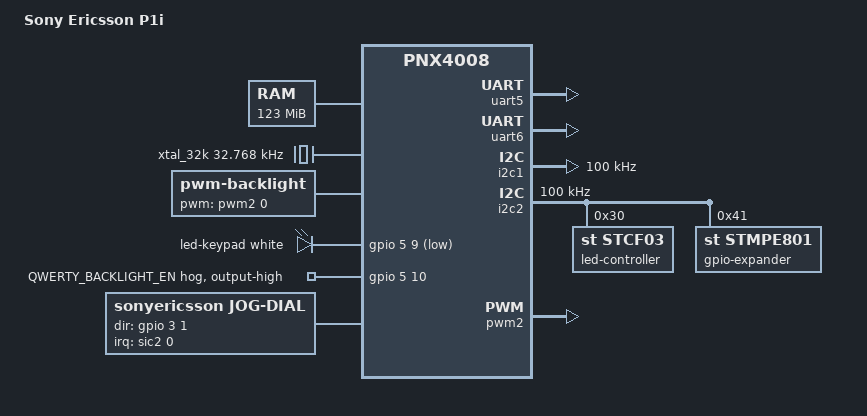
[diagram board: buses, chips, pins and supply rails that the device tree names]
// SPDX-License-Identifier: GPL-2.0
/*
 * Sony Ericsson P1i -- NXP (Philips) Nexperia PNX4008, ARM926EJ-S r0p4 @ 208 MHz,
 * 32 KB I + 32 KB D cache, 128 MB SDRAM at 0x80000000.
 *
 * Bring-up DTS: just enough for the decompressor and early boot to talk on UART5
 * (SP2663, 115200 8N1). The handover payload has already set UART5's clock and
 * divisor, so the console works without any clock driver.
 *
 * Built on the LPC32xx layout (the PNX4008's successor, same peripheral map) but NOT on
 * lpc32xx.dtsi: the root compatible deliberately avoids "nxp,lpc32x0", so the generic
 * DT machine is used instead of mach-lpc32xx, whose init code reprograms UART clocks.
 *
 * Verified on the device (regprobe, then uart5probe): UART3-6 bases, MIC/SIC1/SIC2 bases and register
 * layout, clock block at 0x40004000, watchdog at 0x4003c000, UART5 @ 13 MHz / 16 / 7.
 * Verified by the payload stub's register dump: MSTIM on MIC line 27, level high; MIC
 * polarity/type Symbian left (POL 3b3b0ce0, TYPE 0) agrees with every trigger below.
 * NOT yet verified: the other interrupt numbers (taken from LPC32xx), RAM hole position.
 *
 * Build inside a kernel tree: copy to arch/arm/boot/dts/ (arch/arm/boot/dts/nxp/lpc/ on
 * >= 6.5) and run  make ARCH=arm CROSS_COMPILE=arm-none-eabi- pnx4008-p1i.dtb
 */

/dts-v1/;

#include <dt-bindings/gpio/gpio.h>
#include <dt-bindings/input/input.h>
#include <dt-bindings/interrupt-controller/irq.h>
#include <dt-bindings/leds/common.h>

/ {
	model = "Sony Ericsson P1i";
	compatible = "sonyericsson,p1i", "nxp,pnx4008";
	interrupt-parent = <&mic>;
	#address-cells = <1>;
	#size-cells = <1>;

	aliases {
		serial0 = &uart6;	/* -> ttyS0: console + shell (IrDA module pads, TX and RX) */
		serial1 = &uart5;	/* -> ttyS1: no longer wired (kept for a future modem) */
	};

	chosen {
		/*
		 * No baud on earlycon: with one it reprograms the divisor assuming a 1.8432 MHz
		 * clock (divisor 1 here, ~812 kbaud). Without one it keeps the payload's setting.
		 */
		/*
		 * Console on UART6 only: the 8250 driver has a single console, and with two
		 * console= ttyS entries the first port to probe (UART5) takes it.
		 */
		bootargs = "earlycon=uart8250,mmio32,0x40098000 console=tty0 console=ttyS0,115200n8 ignore_loglevel";
		stdout-path = "serial0:115200n8";
	};

	/*
	 * HAL reports 0x7b00000 (123 MB) of 128 MB usable; the missing 5 MB is presumably
	 * framebuffer / modem memory. Assumed at the top (0x87b00000-0x87ffffff) because
	 * Symbian's own page tables live low (TTBR 0x80504000). Confirm against the probe's
	 * RamBootData dump before trusting it; a wrong guess here corrupts memory silently.
	 */
	memory@80000000 {
		device_type = "memory";
		reg = <0x80000000 0x07b00000>;
	};

	reserved-memory {
		#address-cells = <1>;
		#size-cells = <1>;
		ranges;

		/* Symbian's framebuffer, still scanned out by the DUM after handover. */
		framebuffer_mem: framebuffer@81000000 {
			reg = <0x81000000 0x50000>;
			no-map;
		};

		/* Audio DSP shared buffer (dsptool experiments; the DSP reads it by physical address). */
		dsp_shared: dsp-shared@81100000 {
			reg = <0x81100000 0x10000>;
			no-map;
		};
	};

	/*
	 * Display: Symbian leaves the DUM (Display Update Module, 0x400B8000 channels,
	 * 0x400BC000 main) and the Sony panel configured. DUM_DECODE = 0x01000000, i.e.
	 * the framebuffer at 0x81000000; 32 channels of 0x2800 bytes each cover 320 lines of
	 * 1024 bytes = 240 pixels x 4 bytes, padded (DUM PAD_1024, RGB888 in 32 bits). The DUM
	 * refreshes the panel by itself on writes (channel CONF 0xa026: dirty detection +
	 * sync), so a plain simple-framebuffer works. Verified on the device: orientation,
	 * stride and x8r8g8b8 colours (solid R/G/B/W fills) are right.
	 */
	framebuffer@81000000 {
		compatible = "simple-framebuffer";
		reg = <0x81000000 0x50000>;
		width = <240>;
		height = <320>;
		stride = <1024>;
		format = "x8r8g8b8";
	};

	cpus {
		#address-cells = <1>;
		#size-cells = <0>;

		cpu@0 {
			compatible = "arm,arm926ej-s";
			device_type = "cpu";
			reg = <0x0>;
		};
	};

	clocks {
		/* PERIPH_CLK: 13 MHz, confirmed by UART5 at divisor 7 -> 116071 baud. */
		periph_clk: periph-clk {
			compatible = "fixed-clock";
			#clock-cells = <0>;
			clock-frequency = <13000000>;
		};

		/*
		 * HCLK (AHB), clocks the I2C blocks. Verified from the stub's dump: HCLKPLL_CTRL
		 * 0x0001601f (direct mode, M = 16: 13 MHz * 16 = 208 MHz), HCLKDIV_CTRL 0x3d
		 * (HCLK = PLL / 2, PERIPH_CLK = PLL / 16 = 13 MHz).
		 */
		/* HCLK PLL output (208 MHz, see below); the Memory Stick clock divides it down. */
		hclk_pll: hclk-pll {
			compatible = "fixed-clock";
			#clock-cells = <0>;
			clock-frequency = <208000000>;
		};

		hclk: hclk {
			compatible = "fixed-clock";
			#clock-cells = <0>;
			clock-frequency = <104000000>;
		};

		xtal_32k: xtal-32k {
			compatible = "fixed-clock";
			#clock-cells = <0>;
			clock-frequency = <32768>;
		};
	};

	/*
	 * Display and keypad backlights (sheet BCT1DE). BACKLIGHT_LEVEL (PWM_OUT2) dims both;
	 * with the PWM disabled its pin is low and both are dark. GPO_09 NUM_BACKLIGHT_EN and
	 * GPO_10 QWERTY_BACKLIGHT_EN, verified on the device:
	 *   9/10 = 0/0 all off, 1/0 or 0/1 display + keypad, 1/1 display only.
	 * So GPO_10 is held high (hog in the gpio node) and GPO_09 (active low) is the keypad
	 * LED; display on/off is the PWM alone, which darkens everything when disabled,
	 * whatever GPO_09 is. GPO_10 is deliberately not the backlight's enable-gpios:
	 * pwm-backlight toggles it while the PWM still runs, and the transient 1/0 state
	 * flashes the keypad. Keypad brightness follows the display's.
	 */
	backlight: backlight {
		compatible = "pwm-backlight";
		pwms = <&pwm2 0 7812500 0>;	/* 32768 Hz / 256 = 128 Hz, as Symbian */
		/* Below ~15% duty the boost converter gives no visible light. */
		brightness-levels = <0 40 64 96 128 160 192 224 255>;
		default-brightness-level = <6>;	/* 75%, near Symbian's 73% */
	};

	leds {
		compatible = "gpio-leds";

		led-keypad {
			function = LED_FUNCTION_KBD_BACKLIGHT;
			color = <LED_COLOR_ID_WHITE>;
			gpios = <&gpio 5 9 GPIO_ACTIVE_LOW>;
			default-state = "off";
		};
	};

	soc {
		compatible = "simple-bus";
		#address-cells = <1>;
		#size-cells = <1>;
		/* AHB peripherals (Memory Stick host) and APB peripherals */
		ranges = <0x20000000 0x20000000 0x00100000>,
			 <0x40000000 0x40000000 0x10000000>;

		/* Main interrupt controller; register layout ER RSR SR APR ATR ITR (probe). */
		mic: interrupt-controller@40008000 {
			compatible = "nxp,lpc3220-mic";
			reg = <0x40008000 0x4000>;
			interrupt-controller;
			#interrupt-cells = <2>;
		};

		sic1: interrupt-controller@4000c000 {
			compatible = "nxp,lpc3220-sic";
			reg = <0x4000c000 0x4000>;
			interrupt-controller;
			#interrupt-cells = <2>;
			interrupt-parent = <&mic>;
			interrupts = <0 IRQ_TYPE_LEVEL_LOW>, <30 IRQ_TYPE_LEVEL_LOW>;
		};

		sic2: interrupt-controller@40010000 {
			compatible = "nxp,lpc3220-sic";
			reg = <0x40010000 0x4000>;
			interrupt-controller;
			#interrupt-cells = <2>;
			interrupt-parent = <&mic>;
			interrupts = <1 IRQ_TYPE_LEVEL_LOW>, <31 IRQ_TYPE_LEVEL_LOW>;
		};

		/*
		 * Standard 16550-style UARTs, 32-bit registers on a 4-byte stride.
		 * MIC lines are NOT the LPC32xx ones: the stub's THRE test put UART5 on line 9
		 * and UART6 on line 10, both level high (verified). UART3/4 at 7/8 assume the
		 * same shift and are unverified.
		 */
		uart3: serial@40080000 {
			compatible = "nxp,lpc3220-uart", "ns16550a";
			reg = <0x40080000 0x1000>;
			reg-shift = <2>;
			reg-io-width = <4>;
			interrupts = <7 IRQ_TYPE_LEVEL_HIGH>;
			clocks = <&periph_clk>;
			status = "disabled";	/* in use by Symbian's side of the board */
		};

		uart4: serial@40088000 {
			compatible = "nxp,lpc3220-uart", "ns16550a";
			reg = <0x40088000 0x1000>;
			reg-shift = <2>;
			reg-io-width = <4>;
			interrupts = <8 IRQ_TYPE_LEVEL_HIGH>;
			clocks = <&periph_clk>;
			status = "disabled";
		};

		uart5: serial@40090000 {
			compatible = "nxp,lpc3220-uart", "ns16550a";
			reg = <0x40090000 0x1000>;
			reg-shift = <2>;
			reg-io-width = <4>;
			interrupts = <9 IRQ_TYPE_LEVEL_HIGH>;
			clocks = <&periph_clk>;
			status = "okay";
		};

		/*
		 * UART6 is the IrDA UART; the payload stub sets UART_CTRL bit 5 (IrDA modulator
		 * bypass) and its clocks, so it works as a plain 16550. Wired via the removed
		 * IrDA module H2660: pin 2 RXD = U6_IRRX, pin 3 TxD = U6_IRTX; RX pull-up R2677.
		 * Symbian left UART_CTRL at 0x20e (IrDA mode, pulse shaping, TX mirror invert,
		 * half duplex); the stub clears those and sets the bypass.
		 */
		uart6: serial@40098000 {
			compatible = "nxp,lpc3220-uart", "ns16550a";
			reg = <0x40098000 0x1000>;
			reg-shift = <2>;
			reg-io-width = <4>;
			interrupts = <10 IRQ_TYPE_LEVEL_HIGH>;
			clocks = <&periph_clk>;
			status = "okay";
		};

		/*
		 * I2C1/I2C2 (Philips IP3204, drivers/i2c/busses/i2c-pnx.c). Symbian leaves their
		 * clocks off; the payload stub turns them on (I2CCLK_CTRL bits 0-1). Interrupts
		 * are the LPC32xx ones, verified: the stub's TX-FIFO-not-full test raised SIC1
		 * line 19 for I2C1 (active low), and I2C2 works on line 18.
		 * I2C1 is the camera bus (MV9319 ISP, camera connector X2741); its pull-ups go to
		 * VORG_CAM1.8, which is off unless CAM_POW (GPO_21) is high, so the bus reads low.
		 * I2C2 has the STCF03 flash LED driver (0x30) and the STMPE801 GPIO expander
		 * (0x41); the SI4703 FM tuner is on it too but only answers once powered up.
		 */
		i2c1: i2c@400a0000 {
			compatible = "nxp,pnx-i2c";
			reg = <0x400a0000 0x100>;
			interrupt-parent = <&sic1>;
			interrupts = <19 IRQ_TYPE_LEVEL_LOW>;
			#address-cells = <1>;
			#size-cells = <0>;
			clocks = <&hclk>;
			clock-frequency = <100000>;
		};

		i2c2: i2c@400a8000 {
			compatible = "nxp,pnx-i2c";
			reg = <0x400a8000 0x100>;
			interrupt-parent = <&sic1>;
			interrupts = <18 IRQ_TYPE_LEVEL_LOW>;
			#address-cells = <1>;
			#size-cells = <0>;
			clocks = <&hclk>;
			clock-frequency = <100000>;

			/*
			 * STCF03 camera flash LED driver (power sheet), torch mode only: its TRIG
			 * input comes from the camera ISP. Verified by hand with i2cset: CMD 0xa0
			 * (PWR_ON | TCH_ON) lights the torch; the torch level is one nibble of
			 * DIM (the driver writes both).
			 */
			led-controller@30 {
				compatible = "st,stcf03";
				reg = <0x30>;
				color = <LED_COLOR_ID_WHITE>;
				function = LED_FUNCTION_TORCH;
			};

			/*
			 * STMPE801 "Expander 1" (N5509, audio sheet): ADDRESS tied low, RESET =
			 * USB_RST#, INT not connected, so it runs in the driver's no-irq mode.
			 */
			gpio-expander@41 {
				compatible = "st,stmpe801";
				reg = <0x41>;

				stmpe_gpio: gpio {
					compatible = "st,stmpe-gpio";
					gpio-controller;
					#gpio-cells = <2>;
					/* GPIO_0..2 are tied together and pulled down: unused. */
					gpio-line-names = "", "", "", "WLAN_POW", "FM_RST#",
							  "KNATTE3_CTRL1_INT", "KNATTE3_CTRL2_INT",
							  "IR_SHDN#";
				};
			};
		};

		/*
		 * GPIO block, LPC32xx layout (drivers/gpio/gpio-lpc32xx.c). Cells: bank, pin,
		 * flags; banks 0-2 = P0-P2 (LPC32xx only, unverified here), 3 = GPIO_P3,
		 * 4 = GPI_P3 inputs, 5 = GPO_P3 outputs. Verified: GPO_n is bit n of
		 * P3_OUTP_SET/CLR/STATE (GPO_21 = CAM_POW, GPO_11 = CAM_RST#).
		 */
		/*
		 * Memory Stick host (Sony MS core, as in tifm_ms), from Symbian's pbusms.dll and
		 * vpbusms.dll: registers at virtual 0x63680000 = 0x20080000, interrupt 12. The
		 * card clock is set in MS_CTRL (0x40004080) as PLL / ceil(PLL / 20 MHz) with bits
		 * 5-7 set. Card power is GPO_06 (MSMICRO_POW), card detect GPI_00 (low = card in).
		 */
		memstick@20080000 {
			compatible = "nxp,pnx4008-ms";
			reg = <0x20080000 0x1000>, <0x40004080 0x4>;
			interrupts = <12 IRQ_TYPE_LEVEL_LOW>;
			clocks = <&hclk_pll>;
			power-gpios = <&gpio 5 6 GPIO_ACTIVE_HIGH>;
			cd-gpios = <&gpio 4 0 GPIO_ACTIVE_LOW>;
		};

		gpio: gpio@40028000 {
			compatible = "nxp,lpc3220-gpio";
			reg = <0x40028000 0x1000>;
			gpio-controller;
			#gpio-cells = <3>;

			/* Backlight enable, see the backlight node. */
			qwerty-backlight-en-hog {
				gpio-hog;
				gpios = <5 10 GPIO_ACTIVE_HIGH>;
				output-high;
				line-name = "QWERTY_BACKLIGHT_EN";
			};
		};

		/*
		 * Key scanner, LPC32xx layout (drivers/input/keyboard/lpc32xx-keys.c). Wiring
		 * (sheet BCT1DA p6): KEY_COL[0..5] / KEY_ROW[0..5] on the scanner pins, KEY_ROW[6]
		 * on GPIO_02 and KEY_COL[6] on GPI_08 -- the scanner still handles them: with a
		 * 7x7 matrix, Y (KEY_ROW[6] x KEY_COL[5]) reads back as data word 6, bit 5. The
		 * jog dial rotation is on GPIO_00 (JOG_INT) / GPIO_01 (JOG_DIR), not here.
		 * Interrupt SIC1 22, verified on the device.
		 * Keymap from evdump on the device (scancode = row * 8 + col), German QWERTZ labels.
		 */
		keypad@40050000 {
			compatible = "nxp,lpc3220-key";
			reg = <0x40050000 0x1000>;
			interrupt-parent = <&sic1>;
			interrupts = <22 IRQ_TYPE_LEVEL_HIGH>;
			clocks = <&xtal_32k>;
			keypad,num-rows = <7>;
			keypad,num-columns = <7>;
			nxp,debounce-delay-ms = <3>;
			nxp,scan-delay-ms = <34>;
			linux,keymap = <
				MATRIX_KEY(0, 0, KEY_EMAIL)	/* "@" key */
				MATRIX_KEY(0, 2, KEY_O)
				MATRIX_KEY(0, 3, KEY_P)
				MATRIX_KEY(0, 4, KEY_L)
				MATRIX_KEY(0, 5, KEY_BACKSPACE)	/* 2nd row, 10th key */
				MATRIX_KEY(0, 6, KEY_ENTER)	/* KEY_ROW[6] x KEY_COL[0] */
				MATRIX_KEY(1, 0, KEY_CAMERA)	/* camera full press (with focus held) */
				MATRIX_KEY(1, 2, KEY_U)
				MATRIX_KEY(1, 3, KEY_I)
				MATRIX_KEY(1, 4, KEY_J)
				MATRIX_KEY(1, 5, KEY_K)
				MATRIX_KEY(2, 0, KEY_CAMERA_FOCUS)	/* camera half press */
				MATRIX_KEY(2, 2, KEY_Z)
				MATRIX_KEY(2, 3, KEY_H)
				MATRIX_KEY(2, 4, KEY_G)
				MATRIX_KEY(3, 1, KEY_ENTER)	/* jog dial press */
				MATRIX_KEY(3, 2, KEY_R)
				MATRIX_KEY(3, 3, KEY_T)
				MATRIX_KEY(3, 4, KEY_F)
				MATRIX_KEY(4, 2, KEY_E)
				MATRIX_KEY(4, 3, KEY_D)
				MATRIX_KEY(4, 4, KEY_S)
				MATRIX_KEY(5, 0, KEY_BACK)	/* Back */
				MATRIX_KEY(5, 2, KEY_Q)
				MATRIX_KEY(5, 3, KEY_W)
				MATRIX_KEY(5, 4, KEY_A)
				MATRIX_KEY(1, 6, KEY_DOT)	/* KEY_ROW[6] x KEY_COL[1] */
				MATRIX_KEY(2, 6, KEY_N)	/* KEY_ROW[6] x KEY_COL[2] */
				MATRIX_KEY(3, 6, KEY_B)	/* KEY_ROW[6] x KEY_COL[3] */
				MATRIX_KEY(4, 6, KEY_X)	/* KEY_ROW[6] x KEY_COL[4] */
				MATRIX_KEY(5, 6, KEY_Y)	/* KEY_ROW[6] x KEY_COL[5] */
				MATRIX_KEY(5, 5, KEY_COMMA)
				MATRIX_KEY(4, 5, KEY_C)
				MATRIX_KEY(3, 5, KEY_V)
				MATRIX_KEY(2, 5, KEY_M)
				/* Bottom row: KEY_COL[6] x KEY_ROW[2..6] */
				MATRIX_KEY(6, 2, KEY_LEFTSHIFT)
				MATRIX_KEY(6, 3, KEY_LEFT)	/* also "*" */
				MATRIX_KEY(6, 4, KEY_SPACE)	/* also "0+" */
				MATRIX_KEY(6, 5, KEY_RIGHT)	/* also "#" */
				MATRIX_KEY(6, 6, KEY_LEFTALT)
			>;
		};

		/*
		 * Jog dial rotation (S2820): JOG_INT = GPIO_00, JOG_DIR = GPIO_01, a quadrature
		 * pair resting high. Verified with gpioget: up = DIR falls first, down = INT
		 * falls first, so DIR's level at INT's falling edge gives the direction
		 * (drivers/input/misc/jog-dial.c). GPIO_00's interrupt: SIC2 0 as on the LPC32xx,
		 * verified on the device. The press is in the key matrix (KEY_ENTER above).
		 */
		jog-dial {
			compatible = "sonyericsson,jog-dial";
			interrupt-parent = <&sic2>;
			interrupts = <0 IRQ_TYPE_EDGE_FALLING>;
			dir-gpios = <&gpio 3 1 GPIO_ACTIVE_HIGH>;
			linux,codes = <KEY_UP KEY_DOWN>;
		};

		/*
		 * PWM2 = BACKLIGHT_LEVEL, LPC32xx layout (drivers/pwm/pwm-lpc32xx.c), verified:
		 * Symbian left 0x80000145 (enabled, reload 1, duty reg 0x45 = low 69/256) and
		 * PWMCLK_CTRL 0x104 (PWM2 clock on, 32 kHz source, divider 1). The driver does
		 * not touch PWMCLK_CTRL. Higher duty = brighter; disabled = dark.
		 */
		pwm2: pwm@4005c004 {
			compatible = "nxp,lpc3220-pwm";
			reg = <0x4005c004 0x4>;
			clocks = <&xtal_32k>;
			#pwm-cells = <3>;
		};

		/*
		 * drivers/watchdog/pnx4008_wdt.c: provides the restart handler (reboot) and
		 * /dev/watchdog. It only starts counting when /dev/watchdog is opened; the
		 * payload stub stops it at handover. Its clock (TIMCLK_CTRL bit 0) was already
		 * on under Symbian; the driver assumes the fixed 13 MHz PERIPH_CLK.
		 */
		watchdog@4003c000 {
			compatible = "nxp,pnx4008-wdt";
			reg = <0x4003c000 0x1000>;
			clocks = <&periph_clk>;
		};

		/*
		 * Millisecond timer: 32-bit counter on the 32.768 kHz RTC clock, Symbian's tick,
		 * so already running at handover. Clocksource + clockevent (match 0).
		 * Line 27 verified on the device: clearing MSTIM_INT drops MIC RAW bit 27
		 * (0cc4a308 -> 04c4a308); Symbian had it enabled with POL=1, TYPE=0 (level high).
		 * Symbian ran it the same way: CTRL 5 (count + debug pause), MCTRL 1 (match 0
		 * interrupt, no reset).
		 * HSTIM (0x40038000) is the finer-grained alternative, but its clock is gated off
		 * under Symbian (TIMCLK_CTRL 0x400040bc bit 1).
		 */
		timer@40034000 {
			compatible = "nxp,pnx4008-mstim";
			reg = <0x40034000 0x1000>;
			interrupts = <27 IRQ_TYPE_LEVEL_HIGH>;
			clocks = <&xtal_32k>;
		};
	};
};
